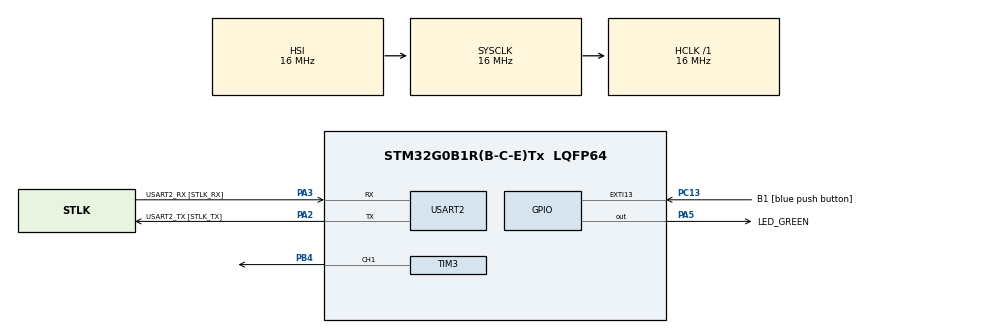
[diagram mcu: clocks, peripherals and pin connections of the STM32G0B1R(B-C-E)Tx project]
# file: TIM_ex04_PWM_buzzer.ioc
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Mcu.Family=STM32G0
Mcu.Name=STM32G0B1R(B-C-E)Tx
Mcu.Package=LQFP64
PA13.GPIO_Label=TMS
PA13.Mode=Serial_Wire
PA13.Signal=SYS_SWDIO
PA14-BOOT0.GPIO_Label=TCK
PA14-BOOT0.Mode=Serial_Wire
PA14-BOOT0.Signal=SYS_SWCLK
PA2.GPIO_Label=USART2_TX [STLK_TX]
PA2.Mode=Asynchronous
PA2.Signal=USART2_TX
PA3.GPIO_Label=USART2_RX [STLK_RX]
PA3.Mode=Asynchronous
PA3.Signal=USART2_RX
PA5.GPIO_Label=LED_GREEN
PA5.GPIO_Speed=GPIO_SPEED_FREQ_HIGH
PA5.Signal=GPIO_Output
PB4.Signal=S_TIM3_CH1
PC13.GPIO_Label=B1 [blue push button]
PC13.Signal=GPXTI13
PC14-OSC32_IN\ (PC14).Mode=LSE-External-Oscillator
PC14-OSC32_IN\ (PC14).Signal=RCC_OSC32_IN
PC15-OSC32_OUT\ (PC15).Mode=LSE-External-Oscillator
PC15-OSC32_OUT\ (PC15).Signal=RCC_OSC32_OUT
PF0-OSC_IN\ (PF0).GPIO_Label=MCO
PF0-OSC_IN\ (PF0).Mode=HSE-External-Clock-Source
PF0-OSC_IN\ (PF0).Signal=RCC_OSC_IN
ProjectManager.HeapSize=0x200
ProjectManager.StackSize=0x400
ProjectManager.TargetToolchain=STM32CubeIDE
RCC.AHBFreq_Value=16000000
RCC.CortexFreq_Value=16000000
RCC.EXTERNAL_CLOCK_VALUE=12288000
RCC.HCLKFreq_Value=16000000
RCC.HSE_VALUE=8000000
RCC.HSI48_VALUE=48000000
RCC.HSI_VALUE=16000000
RCC.SYSCLKFreq_VALUE=16000000
RCC.USBFreq_Value=48000000
RCC.VCOOutputFreq_Value=128000000
SH.S_TIM3_CH1.0=TIM3_CH1,PWM Generation1 CH1
TIM3.Channel-PWM\ Generation1\ CH1=TIM_CHANNEL_1
TIM3.Prescaler=15
USART2.VirtualMode-Asynchronous=VM_ASYNC
VP_SYS_VS_DBSignals.Mode=DisableDeadBatterySignals
VP_TIM3_VS_ClockSourceINT.Mode=Internal
board=NUCLEO-G0B1RE

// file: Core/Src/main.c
/* USER CODE BEGIN Header */
/**
  ******************************************************************************
  * @file           : main.c
  * @brief          : Main program body
  ******************************************************************************
  * @attention
  *
  * Copyright (c) 2026 STMicroelectronics.
  * All rights reserved.
  *
  * This software is licensed under terms that can be found in the LICENSE file
  * in the root directory of this software component.
  * If no LICENSE file comes with this software, it is provided AS-IS.
  *
  ******************************************************************************
  */
/* USER CODE END Header */
#include "main.h"

TIM_HandleTypeDef htim3;

UART_HandleTypeDef huart2;

/* USER CODE BEGIN PV */
#define C4 262  // C
#define D4 294
#define E4 330
#define F4 349
#define G4 392
#define A4 440
#define B4 494
#define C5 523

uint16_t scale[] = {C4, D4, E4, F4, G4, A4, B4, C5};
/* USER CODE END PV */

void SystemClock_Config(void);
static void MX_GPIO_Init(void);
static void MX_USART2_UART_Init(void);
static void MX_TIM3_Init(void);
/* USER CODE BEGIN PFP */
void Play_Tone(uint16_t freq);
void Stop_Tone(void);
/* USER CODE END PFP */

int main(void)
{

  /* MCU Configuration--------------------------------------------------------*/

  /* Reset of all peripherals, Initializes the Flash interface and the Systick. */
  HAL_Init();

  /* Configure the system clock */
  SystemClock_Config();

  /* Initialize all configured peripherals */
  MX_GPIO_Init();
  MX_USART2_UART_Init();
  MX_TIM3_Init();

  /* Infinite loop */
  /* USER CODE BEGIN WHILE */
  Play_Tone(C4);
  HAL_Delay(1000);
  Stop_Tone();
  Play_Tone(D4);
  HAL_Delay(1000);
  Stop_Tone();
  Play_Tone(E4);
  HAL_Delay(1000);
  Stop_Tone();

  while (1)
  {
    /* USER CODE END WHILE */

  }
}

void SystemClock_Config(void)
{
  RCC_OscInitTypeDef RCC_OscInitStruct = {0};
  RCC_ClkInitTypeDef RCC_ClkInitStruct = {0};

  /** Configure the main internal regulator output voltage
  */
  HAL_PWREx_ControlVoltageScaling(PWR_REGULATOR_VOLTAGE_SCALE1);

  /** Initializes the RCC Oscillators according to the specified parameters
  * in the RCC_OscInitTypeDef structure.
  */
  RCC_OscInitStruct.OscillatorType = RCC_OSCILLATORTYPE_HSI;
  RCC_OscInitStruct.HSIState = RCC_HSI_ON;
  RCC_OscInitStruct.HSIDiv = RCC_HSI_DIV1;
  RCC_OscInitStruct.HSICalibrationValue = RCC_HSICALIBRATION_DEFAULT;
  RCC_OscInitStruct.PLL.PLLState = RCC_PLL_NONE;
  if (HAL_RCC_OscConfig(&RCC_OscInitStruct) != HAL_OK)
  {
    Error_Handler();
  }

  /** Initializes the CPU, AHB and APB buses clocks
  */
  RCC_ClkInitStruct.ClockType = RCC_CLOCKTYPE_HCLK|RCC_CLOCKTYPE_SYSCLK
                              |RCC_CLOCKTYPE_PCLK1;
  RCC_ClkInitStruct.SYSCLKSource = RCC_SYSCLKSOURCE_HSI;
  RCC_ClkInitStruct.AHBCLKDivider = RCC_SYSCLK_DIV1;
  RCC_ClkInitStruct.APB1CLKDivider = RCC_HCLK_DIV1;

  if (HAL_RCC_ClockConfig(&RCC_ClkInitStruct, FLASH_LATENCY_0) != HAL_OK)
  {
    Error_Handler();
  }
}

static void MX_TIM3_Init(void)
{

  TIM_ClockConfigTypeDef sClockSourceConfig = {0};
  TIM_MasterConfigTypeDef sMasterConfig = {0};
  TIM_OC_InitTypeDef sConfigOC = {0};

  htim3.Instance = TIM3;
  htim3.Init.Prescaler = 15;
  htim3.Init.CounterMode = TIM_COUNTERMODE_UP;
  htim3.Init.Period = 65535;
  htim3.Init.ClockDivision = TIM_CLOCKDIVISION_DIV1;
  htim3.Init.AutoReloadPreload = TIM_AUTORELOAD_PRELOAD_DISABLE;
  if (HAL_TIM_Base_Init(&htim3) != HAL_OK)
  {
    Error_Handler();
  }
  sClockSourceConfig.ClockSource = TIM_CLOCKSOURCE_INTERNAL;
  if (HAL_TIM_ConfigClockSource(&htim3, &sClockSourceConfig) != HAL_OK)
  {
    Error_Handler();
  }
  if (HAL_TIM_PWM_Init(&htim3) != HAL_OK)
  {
    Error_Handler();
  }
  sMasterConfig.MasterOutputTrigger = TIM_TRGO_RESET;
  sMasterConfig.MasterSlaveMode = TIM_MASTERSLAVEMODE_DISABLE;
  if (HAL_TIMEx_MasterConfigSynchronization(&htim3, &sMasterConfig) != HAL_OK)
  {
    Error_Handler();
  }
  sConfigOC.OCMode = TIM_OCMODE_PWM1;
  sConfigOC.Pulse = 0;
  sConfigOC.OCPolarity = TIM_OCPOLARITY_HIGH;
  sConfigOC.OCFastMode = TIM_OCFAST_DISABLE;
  if (HAL_TIM_PWM_ConfigChannel(&htim3, &sConfigOC, TIM_CHANNEL_1) != HAL_OK)
  {
    Error_Handler();
  }
  HAL_TIM_MspPostInit(&htim3);

}

static void MX_USART2_UART_Init(void)
{

  huart2.Instance = USART2;
  huart2.Init.BaudRate = 115200;
  huart2.Init.WordLength = UART_WORDLENGTH_8B;
  huart2.Init.StopBits = UART_STOPBITS_1;
  huart2.Init.Parity = UART_PARITY_NONE;
  huart2.Init.Mode = UART_MODE_TX_RX;
  huart2.Init.HwFlowCtl = UART_HWCONTROL_NONE;
  huart2.Init.OverSampling = UART_OVERSAMPLING_16;
  huart2.Init.OneBitSampling = UART_ONE_BIT_SAMPLE_DISABLE;
  huart2.Init.ClockPrescaler = UART_PRESCALER_DIV1;
  huart2.AdvancedInit.AdvFeatureInit = UART_ADVFEATURE_NO_INIT;
  if (HAL_UART_Init(&huart2) != HAL_OK)
  {
    Error_Handler();
  }
  if (HAL_UARTEx_SetTxFifoThreshold(&huart2, UART_TXFIFO_THRESHOLD_1_8) != HAL_OK)
  {
    Error_Handler();
  }
  if (HAL_UARTEx_SetRxFifoThreshold(&huart2, UART_RXFIFO_THRESHOLD_1_8) != HAL_OK)
  {
    Error_Handler();
  }
  if (HAL_UARTEx_DisableFifoMode(&huart2) != HAL_OK)
  {
    Error_Handler();
  }

}

static void MX_GPIO_Init(void)
{
  GPIO_InitTypeDef GPIO_InitStruct = {0};

  /* GPIO Ports Clock Enable */
  __HAL_RCC_GPIOC_CLK_ENABLE();
  __HAL_RCC_GPIOF_CLK_ENABLE();
  __HAL_RCC_GPIOA_CLK_ENABLE();
  __HAL_RCC_GPIOB_CLK_ENABLE();

  /*Configure GPIO pin Output Level */
  HAL_GPIO_WritePin(LED_GREEN_GPIO_Port, LED_GREEN_Pin, GPIO_PIN_RESET);

  /*Configure GPIO pin : B1_Pin */
  GPIO_InitStruct.Pin = B1_Pin;
  GPIO_InitStruct.Mode = GPIO_MODE_IT_RISING;
  GPIO_InitStruct.Pull = GPIO_NOPULL;
  HAL_GPIO_Init(B1_GPIO_Port, &GPIO_InitStruct);

  /*Configure GPIO pin : LED_GREEN_Pin */
  GPIO_InitStruct.Pin = LED_GREEN_Pin;
  GPIO_InitStruct.Mode = GPIO_MODE_OUTPUT_PP;
  GPIO_InitStruct.Pull = GPIO_NOPULL;
  GPIO_InitStruct.Speed = GPIO_SPEED_FREQ_HIGH;
  HAL_GPIO_Init(LED_GREEN_GPIO_Port, &GPIO_InitStruct);

}

/* USER CODE BEGIN 4 */
void Play_Tone(uint16_t freq){
	if (freq == 0){
		Stop_Tone();
		return;
	}
	uint32_t arr_val = ((1000000 / freq) - 1);
	uint32_t ccr_val = (arr_val + 1) / 2;
	__HAL_TIM_SET_AUTORELOAD(&htim3, arr_val);
	__HAL_TIM_SET_COMPARE(&htim3, TIM_CHANNEL_1, ccr_val);
	HAL_TIM_PWM_Start(&htim3, TIM_CHANNEL_1);
}
void Stop_Tone(void){
	HAL_TIM_PWM_Stop(&htim3, TIM_CHANNEL_1);
}
/* USER CODE END 4 */

void Error_Handler(void)
{
  __disable_irq();
  while (1)
  {
  }
}
